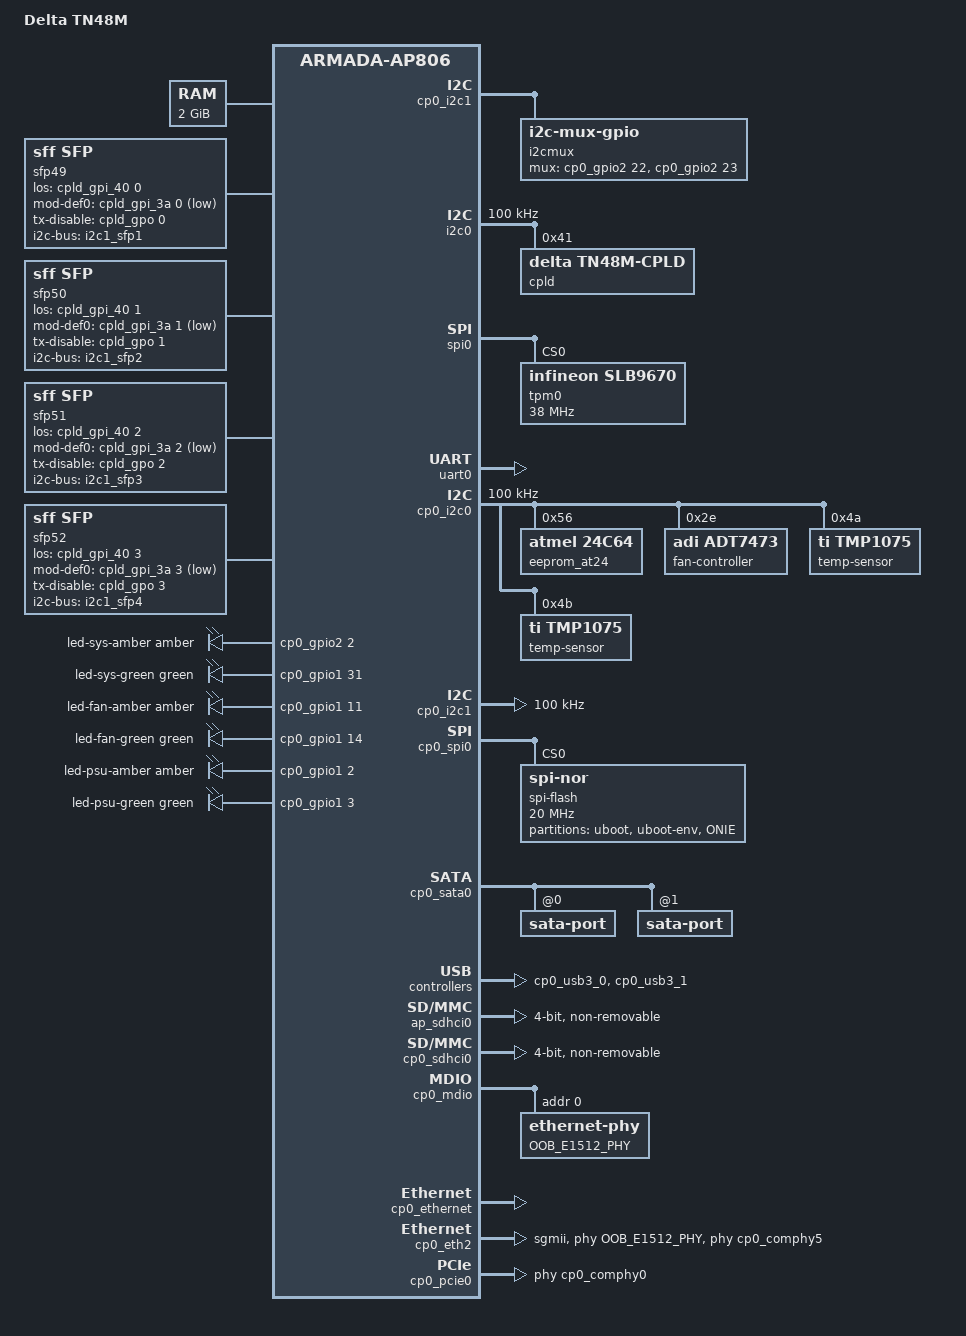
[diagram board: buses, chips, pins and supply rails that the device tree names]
/*
 * Delta TN48M/TN48M2/TN48M-POE Device Tree Source
 *
 * Copyright (C) 2016 Marvell Technology Group Ltd.
 *
 * This file is dual-licensed: you can use it either under the terms
 * of the GPLv2 or the X11 license, at your option. Note that this dual
 * licensing only applies to this file, and not this project as a
 * whole.
 *
 *  a) This library is free software; you can redistribute it and/or
 *     modify it under the terms of the GNU General Public License as
 *     published by the Free Software Foundation; either version 2 of the
 *     License, or (at your option) any later version.
 *
 *     This library is distributed in the hope that it will be useful,
 *     but WITHOUT ANY WARRANTY; without even the implied warranty of
 *     MERCHANTABILITY or FITNESS FOR A PARTICULAR PURPOSE.  See the
 *     GNU General Public License for more details.
 *
 * Or, alternatively,
 *
 *  b) Permission is hereby granted, free of charge, to any person
 *     obtaining a copy of this software and associated documentation
 *     files (the "Software"), to deal in the Software without
 *     restriction, including without limitation the rights to use,
 *     copy, modify, merge, publish, distribute, sublicense, and/or
 *     sell copies of the Software, and to permit persons to whom the
 *     Software is furnished to do so, subject to the following
 *     conditions:
 *
 *     The above copyright notice and this permission notice shall be
 *     included in all copies or substantial portions of the Software.
 *
 *     THE SOFTWARE IS PROVIDED "AS IS", WITHOUT WARRANTY OF ANY KIND,
 *     EXPRESS OR IMPLIED, INCLUDING BUT NOT LIMITED TO THE WARRANTIES
 *     OF MERCHANTABILITY, FITNESS FOR A PARTICULAR PURPOSE AND
 *     NONINFRINGEMENT. IN NO EVENT SHALL THE AUTHORS OR COPYRIGHT
 *     HOLDERS BE LIABLE FOR ANY CLAIM, DAMAGES OR OTHER LIABILITY,
 *     WHETHER IN AN ACTION OF CONTRACT, TORT OR OTHERWISE, ARISING
 *     FROM, OUT OF OR IN CONNECTION WITH THE SOFTWARE OR THE USE OR
 *     OTHER DEALINGS IN THE SOFTWARE.
 */

#include <dt-bindings/gpio/gpio.h>
#include <dt-bindings/leds/common.h>
#include "armada-7040.dtsi"

/ {
	model = "Delta TN48M";
	compatible = "delta,tn48m", "marvell,armada7040",
		     "marvell,armada-ap806-quad", "marvell,armada-ap806";

	chosen {
		stdout-path = "serial0:115200n8";
	};

	memory@0 {
		device_type = "memory";
		reg = <0x0 0x0 0x0 0x80000000>;
	};

	aliases {
		ethernet0 = &cp0_eth0;
		ethernet1 = &cp0_eth1;
		ethernet2 = &cp0_eth2;
	};

	switch-cpu {
		compatible = "marvell,prestera-switch-rxtx-sdma";
		status = "okay";
	};

	/* SFP+ cage signals via the mainline TN48M CPLD gpio children:
	 * TX-disable on the GPO @0x31, presence (mod-def0) on the GPI @0x3a,
	 * LOS on the GPI @0x40 — bit N of each register = SFP N (49+N). */
	sfp49: sfp-49 {
		compatible = "sff,sfp";
		i2c-bus = <&i2c1_sfp1>;
		los-gpio = <&cpld_gpi_40 0 GPIO_ACTIVE_HIGH>;
		mod-def0-gpio = <&cpld_gpi_3a 0 GPIO_ACTIVE_LOW>;
		tx-disable-gpio = <&cpld_gpo 0 GPIO_ACTIVE_HIGH>;
	};
	sfp50: sfp-50 {
		compatible = "sff,sfp";
		i2c-bus = <&i2c1_sfp2>;
		los-gpio = <&cpld_gpi_40 1 GPIO_ACTIVE_HIGH>;
		mod-def0-gpio = <&cpld_gpi_3a 1 GPIO_ACTIVE_LOW>;
		tx-disable-gpio = <&cpld_gpo 1 GPIO_ACTIVE_HIGH>;
	};
	sfp51: sfp-51 {
		compatible = "sff,sfp";
		i2c-bus = <&i2c1_sfp3>;
		los-gpio = <&cpld_gpi_40 2 GPIO_ACTIVE_HIGH>;
		mod-def0-gpio = <&cpld_gpi_3a 2 GPIO_ACTIVE_LOW>;
		tx-disable-gpio = <&cpld_gpo 2 GPIO_ACTIVE_HIGH>;
	};
	sfp52: sfp-52 {
		compatible = "sff,sfp";
		i2c-bus = <&i2c1_sfp4>;
		los-gpio = <&cpld_gpi_40 3 GPIO_ACTIVE_HIGH>;
		mod-def0-gpio = <&cpld_gpi_3a 3 GPIO_ACTIVE_LOW>;
		tx-disable-gpio = <&cpld_gpo 3 GPIO_ACTIVE_HIGH>;
	};

	i2cmux {
		compatible = "i2c-mux-gpio";
		#address-cells = <1>;
		#size-cells = <0>;
		mux-gpios = <&cp0_gpio2 22 0 &cp0_gpio2 23 0>;
		i2c-parent = <&cp0_i2c1>;

		i2c1_sfp1: i2c@0 {
			reg = <0>;
			#address-cells = <1>;
			#size-cells = <0>;
		};

		i2c1_sfp2: i2c@1 {
			reg = <1>;
			#address-cells = <1>;
			#size-cells = <0>;
		};

		i2c1_sfp3: i2c@2 {
			reg = <2>;
			#address-cells = <1>;
			#size-cells = <0>;
		};

		i2c1_sfp4: i2c@3 {
			reg = <3>;
			#address-cells = <1>;
			#size-cells = <0>;
		};
	};

	/*
	 * Front-panel status LEDs — bi-color (green/amber) SYS, FAN, PSU,
	 * each a CP110 MPP GPIO, active-high. Mapping decompiled from
	 * Sartura's replica `armada-7040-tn48m.dtb` (the original dent NOS
	 * drove these from an out-of-tree led.c using raw global GPIO
	 * numbers; this phandle form is base-independent and lands on our
	 * gpiochips): cp0_gpio1 (gpio@100) lines 2,3,11,14,31 and
	 * cp0_gpio2 (gpio@140) line 2. Greens default-on, ambers off;
	 * SYS amber doubles as the kernel panic indicator.
	 */
	leds {
		compatible = "gpio-leds";

		led-sys-amber {
			gpios = <&cp0_gpio2 2 GPIO_ACTIVE_HIGH>;
			color = <LED_COLOR_ID_AMBER>;
			function = LED_FUNCTION_STATUS;
			default-state = "off";
			panic-indicator;
		};

		led-sys-green {
			gpios = <&cp0_gpio1 31 GPIO_ACTIVE_HIGH>;
			color = <LED_COLOR_ID_GREEN>;
			function = LED_FUNCTION_STATUS;
			/*
			 * Heartbeat = "kernel alive" pulse (load-weighted blink).
			 * Overrides default-state once the trigger registers; the
			 * CONFIG_LEDS_TRIGGER_HEARTBEAT module autoloads. sys-amber
			 * stays the panic-indicator, so a hung/panicked kernel reads
			 * as steady-amber instead of a pulsing green.
			 */
			linux,default-trigger = "heartbeat";
		};

		led-fan-amber {
			gpios = <&cp0_gpio1 11 GPIO_ACTIVE_HIGH>;
			color = <LED_COLOR_ID_AMBER>;
			function = "fan";
			default-state = "off";
		};

		led-fan-green {
			gpios = <&cp0_gpio1 14 GPIO_ACTIVE_HIGH>;
			color = <LED_COLOR_ID_GREEN>;
			function = "fan";
			default-state = "on";
		};

		led-psu-amber {
			gpios = <&cp0_gpio1 2 GPIO_ACTIVE_HIGH>;
			color = <LED_COLOR_ID_AMBER>;
			function = LED_FUNCTION_POWER;
			default-state = "off";
		};

		led-psu-green {
			gpios = <&cp0_gpio1 3 GPIO_ACTIVE_HIGH>;
			color = <LED_COLOR_ID_GREEN>;
			function = LED_FUNCTION_POWER;
			default-state = "on";
		};
	};

	/*
	 * Note: the root-level `prestera` node from dent's vintage of
	 * this DTS (with `compatible = "marvell,prestera"` and a `ports`
	 * subnode listing SFP slots) was unused by mainline. Mainline
	 * prestera's `sw->np` comes from the PCI device's of_node, not
	 * from a global compatible match. The PCI hierarchy under
	 * `&cp0_pcie0` below is where DT properties (including
	 * nvmem-cells) actually attach to the prestera ASIC — and where
	 * the SFP+ port mapping (the `ports`/port49..52 subnode with
	 * their sfp phandles) now lives, see `prestera@0,0`.
	 */
};

&i2c0 {
	status = "okay";
	clock-frequency = <100000>;

	/*
	 * TN48M CPLD — mainline MFD stack (simple-mfd-i2c + delta,tn48m-cpld,
	 * Linux 7.0). Splits the CPLD's GPIO into three register-backed
	 * gpiochips (one output @0x31, two inputs @0x3a/@0x40) plus a reset
	 * controller. Replaces dent's out-of-tree `dni,tn48m_cpld` node.
	 */
	cpld@41 {
		compatible = "delta,tn48m-cpld";
		reg = <0x41>;
		#address-cells = <1>;
		#size-cells = <0>;

		/* Output reg 0x31 — SFP TX-disable (bits 0-3 = SFP49-52). */
		cpld_gpo: gpio@31 {
			compatible = "delta,tn48m-gpo";
			reg = <0x31>;
			gpio-controller;
			#gpio-cells = <2>;
		};

		/* Input reg 0x3a — SFP presence / mod-def0 (bits 0-3). */
		cpld_gpi_3a: gpio@3a {
			compatible = "delta,tn48m-gpi";
			reg = <0x3a>;
			gpio-controller;
			#gpio-cells = <2>;
		};

		/* Input reg 0x40 — SFP LOS (bits 0-3). */
		cpld_gpi_40: gpio@40 {
			compatible = "delta,tn48m-gpi";
			reg = <0x40>;
			gpio-controller;
			#gpio-cells = <2>;
		};

		/*
		 * Reset lines (see dt-bindings/reset/delta,tn48m-reset.h):
		 * 0 CPU_88F7040, 1 CPU_88F6820, 2 MAC_98DX3265 (NPU),
		 * 3 PHY_88E1680, 4 PHY_88E1512, 5 POE (PD69200, -P only).
		 * Reference as e.g. resets = <&tn48m_reset POE_RESET>.
		 */
		tn48m_reset: reset-controller {
			compatible = "delta,tn48m-reset";
			#reset-cells = <1>;
		};
	};
};

&spi0 {
	status = "okay";

	tpm0: slb9670@0 {
		compatible = "infineon,slb9670";
		reg = <0>;
		spi-max-frequency = <38000000>;
		status = "okay";
	};
};

&uart0 {
	status = "okay";
};

&cp0_i2c0 {
	status = "okay";
	clock-frequency = <100000>;

	eeprom_at24: at24@56 {
		compatible = "atmel,24c64";
		reg = <0x56>;

		/*
		 * Mainline ONIE TLV layout (drivers/nvmem/layouts/onie-tlv.c).
		 * Parses the TLV table the factory wrote to this EEPROM and
		 * exposes named nvmem cells. The `mac-address` cell takes one
		 * argument (an offset into the reserved MAC range), which is
		 * what `<&onie_base_mac N>` consumers pick.
		 */
		nvmem-layout {
			compatible = "onie,tlv-layout";

			onie_base_mac: mac-address {
				#nvmem-cell-cells = <1>;
			};
		};
	};

	/* Chassis fan controller: ADT7473, 3 fans (pwm1-3 + tach).
	 * Present on both TN48M and TN48M-P; mainline adt7475 driver. */
	fan-controller@2e {
		compatible = "adi,adt7473";
		reg = <0x2e>;
	};

	/* Board temperature sensors (LM75-compatible). 0x4a ran ~39 C,
	 * 0x4b ~55 C (nearer the ASIC) in testing. */
	temp-sensor@4a {
		compatible = "ti,tmp1075";
		reg = <0x4a>;
	};

	temp-sensor@4b {
		compatible = "ti,tmp1075";
		reg = <0x4b>;
	};
};

&cp0_i2c1 {
	status = "okay";
	clock-frequency = <100000>;
};

&cp0_spi0 {
	status = "okay";

	spi-flash@0 {
		compatible = "jedec,spi-nor";
		reg = <0x0>;
		spi-max-frequency = <20000000>;

		partitions {
			compatible = "fixed-partitions";
			#address-cells = <1>;
			#size-cells = <1>;

			partition@0 {
				label = "uboot";
				reg = <0x0 0x3f0000>;
			};

			partition@3f0000 {
				label = "uboot-env";
				reg = <0x3f0000 0x010000>;
			};

			partition@400000 {
				label = "ONIE";
				reg = <0x400000 0xc00000>;
			};
		};
	};
};

&cp0_sata0 {
	status = "okay";

	/*
	 * Mainline's cp11x SATA ports default to status = "disabled" (dent's
	 * older vendored DTSI left them implicitly enabled). Enable both so
	 * the internal SATA drive enumerates — matches the prior behavior
	 * exactly now that the SoC DTSIs come from the kernel tree.
	 */
	sata-port@0 {
		status = "okay";
	};

	sata-port@1 {
		status = "okay";
	};
};

&cp0_usb3_0 {
	status = "okay";
};

&cp0_usb3_1 {
	status = "okay";
};

&ap_sdhci0 {
	status = "okay";
	bus-width = <4>;
	no-1-8-v;
	non-removable;
};

&cp0_sdhci0 {
	status = "okay";
	bus-width = <4>;
	no-1-8-v;
	non-removable;
};

&cp0_mdio {
	status = "okay";

	OOB_E1512_PHY: ethernet-phy@1 {
		reg = <0x0>;
	};
};

&cp0_ethernet {
	status = "okay";
};

&cp0_eth0 {
	status = "disabled";
};

&cp0_eth1 {
	status = "disabled";
};

&cp0_eth2 {
	status = "okay";

	phy-mode = "sgmii";
	phy = <&OOB_E1512_PHY>;
	phys = <&cp0_comphy5 2>;
};

&cp0_pcie0 {
	dma-ranges = <0x42000000 0x0 0x00000000 0x0 0x00000000 0x0 0x40000000>;
	ranges = <0x81000000 0x0 0xfb000000 0x0 0xfb000000 0x0 0xf0000
		0x82000000 0x0 0xf6000000 0x0 0xf6000000 0x0 0x0f00000
		0x82000000 0x0 0xf9000000 0x0 0xf9000000 0x0 0x100000>;
	phys = <&cp0_comphy0 0>;
	status = "okay";

	/*
	 * Describe the PCI bus topology so the kernel can attach DT
	 * properties to the prestera ASIC when it enumerates the bus.
	 *
	 * Topology: cp0_pcie0 → root port at BDF 00:00.0 → endpoint
	 * (prestera) at BDF 01:00.0. The kernel matches DT child nodes
	 * to PCI devices by walking the parent's children and comparing
	 * each `reg` property's devfn (bits 8-15 of cell 0) against the
	 * device's actual devfn. Bus number bits are ignored in the
	 * match — they're informational.
	 *
	 * The DT description is supplementary: PCI enumeration via
	 * config space happens normally; this just attaches properties
	 * (here, nvmem-cells for the base MAC) to the matched device.
	 */
	#address-cells = <3>;
	#size-cells = <2>;

	pcie@0,0 {
		device_type = "pci";
		reg = <0x0 0 0 0 0>;     /* root port: devfn = 0:0 */
		ranges;
		#address-cells = <3>;
		#size-cells = <2>;

		prestera@0,0 {
			reg = <0x0 0 0 0 0>; /* prestera: devfn = 0:0 (bus 1) */

			/*
			 * Read the base MAC from the ONIE TLV EEPROM via
			 * mainline's onie-tlv layout driver. The cell is
			 * declared on `eeprom_at24` in the &cp0_i2c0 block.
			 *
			 * Offset 3: U-Boot's runtime DT fixup hands out the
			 * first three EEPROM MACs to the SoC's mvpp2 ports
			 * (mvpp2-0/1/2 ↔ base+0/1/2; mvpp2-2 is the mgmt port
			 * the management interface). Prestera then derives
			 * per-port MACs as base+port_index, so without the
			 * offset np1=base+1 and np2=base+2 collide. Shifting
			 * prestera's base to base+3 puts the front-panel
			 * range at base+4..base+55, well within the 64 MACs
			 * reserved per the EEPROM TLV `num-macs` field.
			 */
			nvmem-cells = <&onie_base_mac 3>;
			nvmem-cell-names = "mac-address";

			/*
			 * SFP+ cages for the four 10G front ports (np49..52).
			 * Mainline prestera's `prestera_port_sfp_bind()` does
			 * `of_find_node_by_name(sw->np, "ports")` — where
			 * `sw->np` is *this* PCI endpoint's of_node — then, for
			 * each child, matches `prestera,port-num` to the
			 * firmware-enumerated front-panel port and hands the
			 * child's fwnode to `phylink_create()`. phylink itself
			 * then picks up the `sfp` phandle (→ the sff,sfp cage
			 * nodes at the top of this file) and manages the module.
			 *
			 * No `managed`/`phy-mode` here on purpose: the driver
			 * passes PHY_INTERFACE_MODE_INTERNAL as the default and
			 * sets supported_interfaces = {10GBASE-R, 2500BASE-X,
			 * SGMII, 1000BASE-X} itself, so phylink starts in PHY
			 * mode and the inserted module upgrades the interface.
			 * This is the bare form dent shipped — relocated from
			 * dent's root-level `marvell,prestera` node (which
			 * mainline never matches) to here, the node mainline
			 * actually reads.
			 */
			ports {
				port49 {
					prestera,port-num = <49>;
					sfp = <&sfp49>;
				};
				port50 {
					prestera,port-num = <50>;
					sfp = <&sfp50>;
				};
				port51 {
					prestera,port-num = <51>;
					sfp = <&sfp51>;
				};
				port52 {
					prestera,port-num = <52>;
					sfp = <&sfp52>;
				};
			};
		};
	};
};
